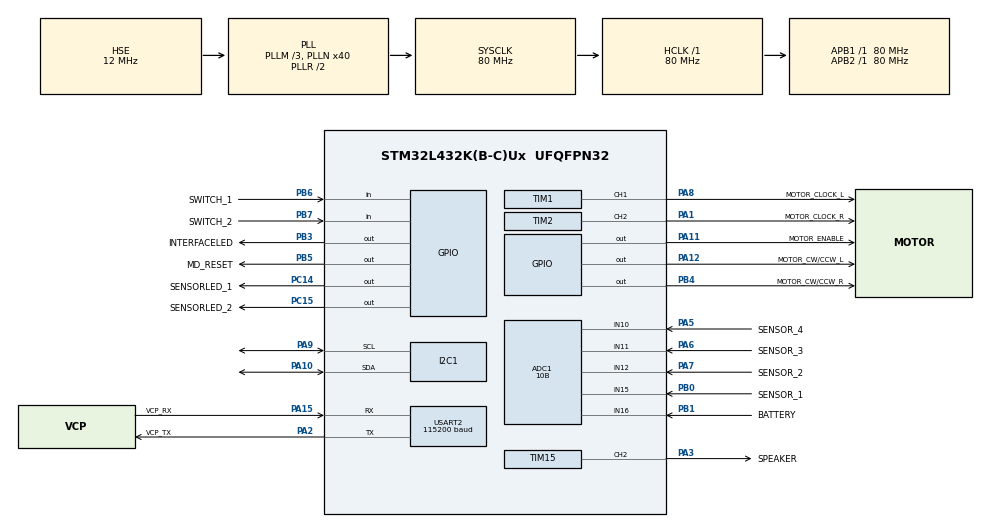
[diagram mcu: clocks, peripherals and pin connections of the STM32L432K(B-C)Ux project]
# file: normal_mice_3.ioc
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ADC1.Channel-1\#ChannelRegularConversion=ADC_CHANNEL_16
ADC1.Channel-2\#ChannelRegularConversion=ADC_CHANNEL_15
ADC1.Channel-3\#ChannelRegularConversion=ADC_CHANNEL_12
ADC1.Channel-4\#ChannelRegularConversion=ADC_CHANNEL_11
ADC1.Channel-5\#ChannelRegularConversion=ADC_CHANNEL_10
ADC1.ClockPrescaler=ADC_CLOCK_ASYNC_DIV16
ADC1.ContinuousConvMode=DISABLE
ADC1.DMAContinuousRequests=DISABLE
ADC1.NbrOfConversion=5
ADC1.NbrOfConversionFlag=1
ADC1.OffsetNumber-1\#ChannelRegularConversion=ADC_OFFSET_NONE
ADC1.OffsetNumber-2\#ChannelRegularConversion=ADC_OFFSET_NONE
ADC1.OffsetNumber-3\#ChannelRegularConversion=ADC_OFFSET_NONE
ADC1.OffsetNumber-4\#ChannelRegularConversion=ADC_OFFSET_NONE
ADC1.OffsetNumber-5\#ChannelRegularConversion=ADC_OFFSET_NONE
ADC1.Rank-1\#ChannelRegularConversion=1
ADC1.Rank-2\#ChannelRegularConversion=2
ADC1.Rank-3\#ChannelRegularConversion=3
ADC1.Rank-4\#ChannelRegularConversion=4
ADC1.Rank-5\#ChannelRegularConversion=5
ADC1.Resolution=ADC_RESOLUTION_10B
ADC1.SamplingTime-1\#ChannelRegularConversion=ADC_SAMPLETIME_6CYCLES_5
ADC1.SamplingTime-2\#ChannelRegularConversion=ADC_SAMPLETIME_6CYCLES_5
ADC1.SamplingTime-3\#ChannelRegularConversion=ADC_SAMPLETIME_6CYCLES_5
ADC1.SamplingTime-4\#ChannelRegularConversion=ADC_SAMPLETIME_6CYCLES_5
ADC1.SamplingTime-5\#ChannelRegularConversion=ADC_SAMPLETIME_6CYCLES_5
ADC1.master=1
Dma.ADC1.0.Direction=DMA_PERIPH_TO_MEMORY
Dma.ADC1.0.Instance=DMA1_Channel1
Dma.ADC1.0.MemDataAlignment=DMA_MDATAALIGN_HALFWORD
Dma.ADC1.0.MemInc=DMA_MINC_ENABLE
Dma.ADC1.0.Mode=DMA_NORMAL
Dma.ADC1.0.PeriphDataAlignment=DMA_PDATAALIGN_HALFWORD
Dma.ADC1.0.PeriphInc=DMA_PINC_DISABLE
Dma.ADC1.0.Priority=DMA_PRIORITY_LOW
Dma.Request0=ADC1
I2C1.Timing=0x10909CEC
Mcu.Family=STM32L4
Mcu.Name=STM32L432K(B-C)Ux
Mcu.Package=UFQFPN32
NVIC.DMA1_Channel1_IRQn=true\:0\:0\:true\:false\:true\:false\:true\:true
NVIC.PriorityGroup=NVIC_PRIORITYGROUP_4
NVIC.TIM1_UP_TIM16_IRQn=true\:0\:0\:false\:false\:true\:true\:true\:true
NVIC.TIM2_IRQn=true\:0\:0\:false\:false\:true\:true\:true\:true
NVIC.TIM6_DAC_IRQn=true\:4\:0\:true\:false\:true\:true\:true\:true
PA0.GPIO_Label=MCO [High speed clock in]
PA0.Mode=HSE-External-Clock-Source-for-LittleOrca
PA0.Signal=RCC_CK_IN
PA1.GPIO_Label=MOTOR_CLOCK_R
PA1.Signal=S_TIM2_CH2
PA10.GPIO_Pu=GPIO_PULLUP
PA10.Mode=I2C
PA10.Signal=I2C1_SDA
PA11.GPIO_Label=MOTOR_ENABLE
PA11.Signal=GPIO_Output
PA12.GPIO_Label=MOTOR_CW/CCW_L
PA12.Signal=GPIO_Output
PA13\ (JTMS-SWDIO).GPIO_Label=SWDIO
PA13\ (JTMS-SWDIO).Mode=Serial_Wire
PA13\ (JTMS-SWDIO).Signal=SYS_JTMS-SWDIO
PA14\ (JTCK-SWCLK).GPIO_Label=SWCLK
PA14\ (JTCK-SWCLK).Mode=Serial_Wire
PA14\ (JTCK-SWCLK).Signal=SYS_JTCK-SWCLK
PA15\ (JTDI).GPIO_Label=VCP_RX
PA15\ (JTDI).Mode=Asynchronous
PA15\ (JTDI).Signal=USART2_RX
PA2.GPIO_Label=VCP_TX
PA2.Mode=Asynchronous
PA2.Signal=USART2_TX
PA3.GPIO_Label=SPEAKER
PA3.Signal=S_TIM15_CH2
PA5.GPIO_Label=SENSOR_4
PA5.Signal=ADCx_IN10
PA6.GPIO_Label=SENSOR_3
PA6.Signal=ADCx_IN11
PA7.GPIO_Label=SENSOR_2
PA7.Signal=ADCx_IN12
PA8.GPIO_Label=MOTOR_CLOCK_L
PA8.Signal=S_TIM1_CH1
PA9.GPIO_Pu=GPIO_PULLUP
PA9.Mode=I2C
PA9.Signal=I2C1_SCL
PB0.GPIO_Label=SENSOR_1
PB0.Signal=ADCx_IN15
PB1.GPIO_Label=BATTERY
PB1.Signal=ADCx_IN16
PB3\ (JTDO-TRACESWO).GPIO_Label=INTERFACELED
PB3\ (JTDO-TRACESWO).Signal=GPIO_Output
PB4\ (NJTRST).GPIO_Label=MOTOR_CW/CCW_R
PB4\ (NJTRST).Signal=GPIO_Output
PB5.GPIO_Label=MD_RESET
PB5.Signal=GPIO_Output
PB6.GPIO_Label=SWITCH_1
PB6.GPIO_PuPd=GPIO_PULLUP
PB6.Signal=GPIO_Input
PB7.GPIO_Label=SWITCH_2
PB7.GPIO_PuPd=GPIO_PULLUP
PB7.Signal=GPIO_Input
PC14-OSC32_IN\ (PC14).GPIO_Label=SENSORLED_1
PC14-OSC32_IN\ (PC14).Signal=GPIO_Output
PC15-OSC32_OUT\ (PC15).GPIO_Label=SENSORLED_2
PC15-OSC32_OUT\ (PC15).Signal=GPIO_Output
ProjectManager.HeapSize=0x200
ProjectManager.StackSize=0x400
ProjectManager.TargetToolchain=STM32CubeIDE
RCC.ADCFreq_Value=32000000
RCC.AHBFreq_Value=80000000
RCC.APB1Freq_Value=80000000
RCC.APB1TimFreq_Value=80000000
RCC.APB2Freq_Value=80000000
RCC.APB2TimFreq_Value=80000000
RCC.CortexFreq_Value=80000000
RCC.HCLKFreq_Value=80000000
RCC.HSE_VALUE=12000000
RCC.HSI16_VALUE=16000000
RCC.HSI48_VALUE=48000000
RCC.HSI_VALUE=16000000
RCC.LSE_VALUE=32768
RCC.MSIAutoCalibration=DISABLED
RCC.MSI_VALUE=4000000
RCC.PLLM=3
RCC.PLLMUL=RCC_PLLMUL_4
RCC.PLLN=40
RCC.PLLSAI1N=16
RCC.PLLSourceVirtual=RCC_PLLSOURCE_HSE
RCC.SYSCLKFreq_VALUE=80000000
RCC.SYSCLKSource=RCC_SYSCLKSOURCE_PLLCLK
RCC.USBFreq_Value=32000000
RCC.VCOOutputFreq_Value=160000000
SH.ADCx_IN10.0=ADC1_IN10,IN10-Single-Ended
SH.ADCx_IN11.0=ADC1_IN11,IN11-Single-Ended
SH.ADCx_IN12.0=ADC1_IN12,IN12-Single-Ended
SH.ADCx_IN15.0=ADC1_IN15,IN15-Single-Ended
SH.ADCx_IN16.0=ADC1_IN16,IN16-Single-Ended
SH.S_TIM15_CH2.0=TIM15_CH2,PWM Generation2 CH2
SH.S_TIM1_CH1.0=TIM1_CH1,PWM Generation1 CH1
SH.S_TIM2_CH2.0=TIM2_CH2,PWM Generation2 CH2
TIM1.Channel-PWM\ Generation1\ CH1=TIM_CHANNEL_1
TIM1.OC1Preload_PWM=ENABLE
TIM1.Period=10000-1
TIM1.Prescaler=8-1
TIM1.Pulse-PWM\ Generation1\ CH1=5000-1
TIM15.Channel-PWM\ Generation2\ CH2=TIM_CHANNEL_2
TIM15.Period=5000-1
TIM15.Prescaler=80-1
TIM15.Pulse-PWM\ Generation2\ CH2=2500-1
TIM2.Channel-PWM\ Generation2\ CH2=TIM_CHANNEL_2
TIM2.Period=10000-1
TIM2.Prescaler=8-1
TIM2.Pulse-PWM\ Generation2\ CH2=5000-1
TIM6.AutoReloadPreload=TIM_AUTORELOAD_PRELOAD_ENABLE
TIM6.Period=1000-1
TIM6.Prescaler=80-1
USART2.BaudRate=115200
USART2.VirtualMode-Asynchronous=VM_ASYNC
VP_TIM6_VS_ClockSourceINT.Mode=Enable_Timer
board=NUCLEO-L432KC

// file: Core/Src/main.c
/* USER CODE BEGIN Header */
/**
  ******************************************************************************
  * @file           : main.c
  * @brief          : Main program body
  ******************************************************************************
  * @attention
  *
  * Copyright (c) 2022 STMicroelectronics.
  * All rights reserved.
  *
  * This software is licensed under terms that can be found in the LICENSE file
  * in the root directory of this software component.
  * If no LICENSE file comes with this software, it is provided AS-IS.
  *
  ******************************************************************************
  */
/* USER CODE END Header */
#include "main.h"
#include "adc.h"
#include "dma.h"
#include "i2c.h"
#include "tim.h"
#include "usart.h"
#include "gpio.h"

/* USER CODE BEGIN Includes */
#include "stdio.h"
#include "define.h"
#include "PL_timer.h"
#include "PL_lcd.h"
#include "PL_sensor.h"
#include "PL_speaker.h"
#include "PL_motor.h"
#include "Control_motor.h"
#include "Control_sensor.h"
#include "PID_wall.h"
#include "mode_selection.h"
#include "turning_parameter.h"
/* USER CODE END Includes */

void SystemClock_Config(void);

int main(void)
{

  /* MCU Configuration--------------------------------------------------------*/

  /* Reset of all peripherals, Initializes the Flash interface and the Systick. */
  HAL_Init();

  /* USER CODE BEGIN Init */
 // setbuf(stdout, NULL);
  /* USER CODE END Init */

  /* Configure the system clock */
  SystemClock_Config();

  /* Initialize all configured peripherals */
  MX_GPIO_Init();
  MX_USART2_UART_Init();
  MX_TIM6_Init();
  MX_I2C1_Init();
  MX_DMA_Init();
  MX_ADC1_Init();
  MX_TIM15_Init();
  MX_TIM1_Init();
  MX_TIM2_Init();
  /* USER CODE BEGIN 2 */
  init_WallControl();
  pl_motor_init();
  pl_speaker_init();
  pl_timer_init();
  pl_lcd_init();
  motor_init();
  record_reset();
  input_parameter();

  pl_lcd_puts("Hello");
  pl_lcd_pos(1, 0);
  pl_lcd_puts("   STM32");
  HAL_Delay(500);
  pl_lcd_clear();

  if(pl_getbatt() < LIPO_LIMIT){
	  pl_lcd_clear();
	  pl_lcd_pos(0, 0);
	  pl_lcd_puts("LIPO");
	  pl_lcd_pos(1, 0);
	  pl_lcd_puts("error");
	  HAL_Delay(10000);
  }

  uint16_t cnt = 0;
  unsigned char mode1,mode2;
  /* USER CODE END 2 */

  /* Infinite loop */
  /* USER CODE BEGIN WHILE */

  while (1)
  {
	  mode1=mode_decision(0,mode1);
	  wait_ms(1000);
	  mode2=mode_decision(1,mode2);
	  mode_execution(mode1,mode2);
// test LED1
//	  HAL_GPIO_WritePin(LD3_GPIO_Port,LD3_Pin,GPIO_PIN_SET);
//	  HAL_Delay(1000);
//	  HAL_GPIO_WritePin(LD3_GPIO_Port,LD3_Pin,GPIO_PIN_RESET);
//	  HAL_Delay(1000);
// test LED2
//	  HAL_GPIO_WritePin(INTERFACELED_GPIO_Port,INTERFACELED_Pin,GPIO_PIN_SET);
//	  HAL_Delay(500);
//	  HAL_GPIO_WritePin(INTERFACELED_GPIO_Port,INTERFACELED_Pin,GPIO_PIN_RESET);
//	  HAL_Delay(500);
// test SWITCH_1,2
//	 if (HAL_GPIO_ReadPin(SWITCH_1_GPIO_Port,SWITCH_1_Pin)==0){
//		 HAL_GPIO_WritePin(INTERFACELED_GPIO_Port,INTERFACELED_Pin,GPIO_PIN_SET);
//		 HAL_Delay(100);
//	 }
//	 if (HAL_GPIO_ReadPin(SWITCH_2_GPIO_Port,SWITCH_2_Pin)==0){
//		 HAL_GPIO_WritePin(INTERFACELED_GPIO_Port,INTERFACELED_Pin,GPIO_PIN_RESET);
//		 HAL_Delay(100);
//	 }
// test USART1
//	 uint8_t hello[] = "Hello World\n\r";
//	 HAL_UART_Transmit(&huart2, hello, sizeof(hello), 1000);
// test USART2
//	  setbuf(stdout, NULL);
//     uint8_t hello[] = "Hello World\n\r";
//     printf("hello=%s", hello);
//     uint8_t hoge = 3;
//     float PI=3.14;
//     printf("hoge=%d\n", hoge);
//     printf("M_PI=%f\n", PI); // @suppress("Float formatting support")
// test timer
//     HAL_GPIO_WritePin(INTERFACELED_GPIO_Port,INTERFACELED_Pin,GPIO_PIN_SET);
//     wait_ms(500);
//     HAL_GPIO_WritePin(INTERFACELED_GPIO_Port,INTERFACELED_Pin,GPIO_PIN_RESET);
//     wait_ms(500);
// test speaker
//   if (HAL_GPIO_ReadPin(SWITCH_1_GPIO_Port,SWITCH_1_Pin)==0){
//    	HAL_GPIO_WritePin(INTERFACELED_GPIO_Port,INTERFACELED_Pin,GPIO_PIN_SET);
//     	HAL_Delay(1000);
//		HAL_TIM_PWM_Start(&htim15, TIM_CHANNEL_2);
//		while(HAL_GPIO_ReadPin(SWITCH_1_GPIO_Port,SWITCH_1_Pin)==1){
//		}
//		HAL_Delay(100);
//	 	HAL_TIM_PWM_Stop(&htim15, TIM_CHANNEL_2);
//   }
// test LCD
//	 char strBuffer[17] = {0};
//	 sprintf(strBuffer, "CNT=%04d", cnt);
//	 cnt++;
//	 pl_lcd_pos(1, 0);
//	 pl_lcd_puts(strBuffer);
// sensor test
//     HAL_ADC_Start_DMA(&hadc1, g_ADCBuffer,sizeof(g_ADCBuffer) / sizeof(uint16_t));
//	 printf("BATT=%f\n",g_V_batt);
//     printf("SEN1=%d,SEN2=%d,SEN3=%d,SEN4=%d\n", g_sensor[0][0],g_sensor[1][0],g_sensor[2][0],g_sensor[3][0]);
//     wait_ms(500);
// motor test
//	  if (HAL_GPIO_ReadPin(SWITCH_1_GPIO_Port,SWITCH_1_Pin)==0){
//    	HAL_GPIO_WritePin(INTERFACELED_GPIO_Port,INTERFACELED_Pin,GPIO_PIN_SET);
//     	HAL_Delay(1000);
//		HAL_GPIO_WritePin(MOTOR_ENABLE_GPIO_Port,MOTOR_ENABLE_Pin,GPIO_PIN_SET);
//		g_TargetStraight.velocity=100;
//		HAL_GPIO_WritePin(MD_RESET_GPIO_Port,MD_RESET_Pin,GPIO_PIN_SET);
//		HAL_Delay(3);
//		HAL_GPIO_WritePin(MD_RESET_GPIO_Port,MD_RESET_Pin,GPIO_PIN_RESET);
//		HAL_TIM_PWM_Start(&htim1, TIM_CHANNEL_1);
//		HAL_TIM_PWM_Start(&htim2, TIM_CHANNEL_2);
//		HAL_Delay(5000);
//	 	HAL_TIM_PWM_Stop(&htim1, TIM_CHANNEL_1);
//	 	HAL_TIM_PWM_Stop(&htim2, TIM_CHANNEL_2);
//	 	HAL_GPIO_WritePin(MOTOR_ENABLE_GPIO_Port,MOTOR_ENABLE_Pin,GPIO_PIN_RESET);
//	 	HAL_Delay(1000);
//		HAL_GPIO_WritePin(MOTOR_ENABLE_GPIO_Port,MOTOR_ENABLE_Pin,GPIO_PIN_SET);
//		g_TargetStraight.velocity=-100;
//		HAL_GPIO_WritePin(MD_RESET_GPIO_Port,MD_RESET_Pin,GPIO_PIN_SET);
//		HAL_Delay(3);
//		HAL_GPIO_WritePin(MD_RESET_GPIO_Port,MD_RESET_Pin,GPIO_PIN_RESET);
//		HAL_TIM_PWM_Start(&htim1, TIM_CHANNEL_1);
//		HAL_TIM_PWM_Start(&htim2, TIM_CHANNEL_2);
//		HAL_Delay(5000);
//	 	HAL_TIM_PWM_Stop(&htim1, TIM_CHANNEL_1);
//	 	HAL_TIM_PWM_Stop(&htim2, TIM_CHANNEL_2);
//	 	HAL_GPIO_WritePin(MOTOR_ENABLE_GPIO_Port,MOTOR_ENABLE_Pin,GPIO_PIN_RESET);
//	 	HAL_Delay(1000);
//	  }

//	  if (HAL_GPIO_ReadPin(SWITCH_1_GPIO_Port,SWITCH_1_Pin)==0){
// test_speaker_music
    //pl_test_speaker();
// test_motor
//     pl_test_motor();
//      control_test_motor(1);
//	  }

    /* USER CODE END WHILE */

  }
}

void SystemClock_Config(void)
{
  RCC_OscInitTypeDef RCC_OscInitStruct = {0};
  RCC_ClkInitTypeDef RCC_ClkInitStruct = {0};

  /** Configure the main internal regulator output voltage
  */
  if (HAL_PWREx_ControlVoltageScaling(PWR_REGULATOR_VOLTAGE_SCALE1) != HAL_OK)
  {
    Error_Handler();
  }

  /** Initializes the RCC Oscillators according to the specified parameters
  * in the RCC_OscInitTypeDef structure.
  */
  RCC_OscInitStruct.OscillatorType = RCC_OSCILLATORTYPE_HSE;
  RCC_OscInitStruct.HSEState = RCC_HSE_BYPASS;
  RCC_OscInitStruct.PLL.PLLState = RCC_PLL_ON;
  RCC_OscInitStruct.PLL.PLLSource = RCC_PLLSOURCE_HSE;
  RCC_OscInitStruct.PLL.PLLM = 3;
  RCC_OscInitStruct.PLL.PLLN = 40;
  RCC_OscInitStruct.PLL.PLLP = RCC_PLLP_DIV7;
  RCC_OscInitStruct.PLL.PLLQ = RCC_PLLQ_DIV2;
  RCC_OscInitStruct.PLL.PLLR = RCC_PLLR_DIV2;
  if (HAL_RCC_OscConfig(&RCC_OscInitStruct) != HAL_OK)
  {
    Error_Handler();
  }

  /** Initializes the CPU, AHB and APB buses clocks
  */
  RCC_ClkInitStruct.ClockType = RCC_CLOCKTYPE_HCLK|RCC_CLOCKTYPE_SYSCLK
                              |RCC_CLOCKTYPE_PCLK1|RCC_CLOCKTYPE_PCLK2;
  RCC_ClkInitStruct.SYSCLKSource = RCC_SYSCLKSOURCE_PLLCLK;
  RCC_ClkInitStruct.AHBCLKDivider = RCC_SYSCLK_DIV1;
  RCC_ClkInitStruct.APB1CLKDivider = RCC_HCLK_DIV1;
  RCC_ClkInitStruct.APB2CLKDivider = RCC_HCLK_DIV1;

  if (HAL_RCC_ClockConfig(&RCC_ClkInitStruct, FLASH_LATENCY_4) != HAL_OK)
  {
    Error_Handler();
  }
}

void Error_Handler(void)
{
  __disable_irq();
  while (1)
  {
  }
}
